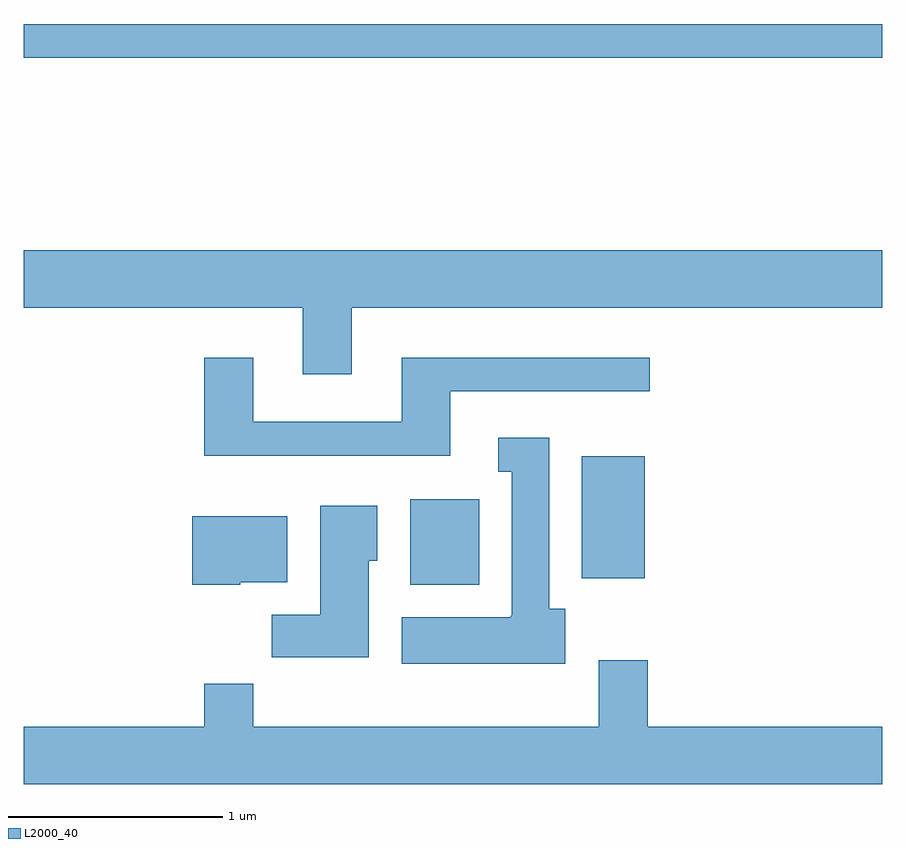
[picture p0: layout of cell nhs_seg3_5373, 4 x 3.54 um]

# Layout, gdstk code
import gdstk
lib = gdstk.Library(unit=1e-6, precision=1e-09)
def R(c, l, rs):  # rectangles x0, y0, x1, y1
    for r in rs: c.add(gdstk.rectangle(r[:2], r[2:], *l))
def P(c, l, *ps):  # polygons
    for p in ps: c.add(gdstk.Polygon(p, *l))
L2000_40 = (2000, 40)

nhs_seg3_5373 = lib.new_cell('nhs_seg3_5373')
R(nhs_seg3_5373, L2000_40, [(345.411,1126.946,345.734,1127.344), (346.211,1126.976,346.504,1127.544), (343.611,1129.401,347.611,1129.559)])
P(nhs_seg3_5373, L2000_40, [(345.139,1128.236),(347.611,1128.236),(347.611,1128.504),(343.611,1128.504),(343.611,1128.236),(344.911,1128.236),(344.911,1127.926),(345.139,1127.926)],
  [(345.599,1127.846),(346.528,1127.846),(346.528,1128.004),(345.371,1128.004),(345.371,1127.704),(344.679,1127.704),(344.679,1128.004),(344.451,1128.004),(344.451,1127.546),(345.599,1127.546)],
  [(346.134,1126.834),(346.059,1126.834),(346.059,1127.629),(345.823,1127.629),(345.823,1127.471),(345.886,1127.471),(345.886,1126.8),(345.88,1126.8),(345.88,1126.794),(345.371,1126.794),(345.371,1126.576),(346.134,1126.576)],
  [(345.219,1127.056),(345.259,1127.056),(345.259,1127.314),(344.991,1127.314),(344.991,1126.804),(344.766,1126.804),(344.766,1126.606),(345.219,1126.606)],
  [(344.62,1126.956),(344.839,1126.956),(344.839,1127.264),(344.396,1127.264),(344.396,1126.946),(344.62,1126.946)],
  [(347.611,1126.284),(346.519,1126.284),(346.519,1126.594),(346.291,1126.594),(346.291,1126.284),(344.679,1126.284),(344.679,1126.484),(344.451,1126.484),(344.451,1126.284),(343.611,1126.284),(343.611,1126.016),(347.611,1126.016)])

lib.write_gds('nhs_seg3_5373.gds')
